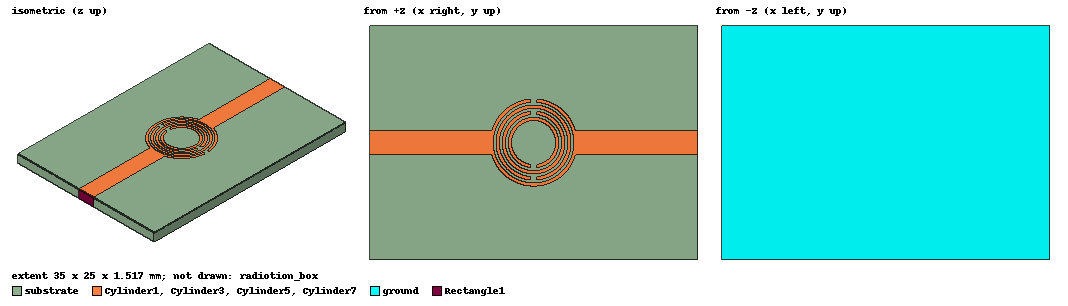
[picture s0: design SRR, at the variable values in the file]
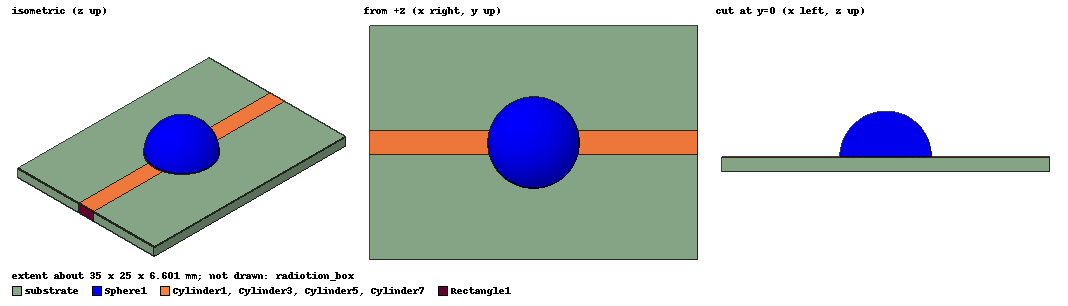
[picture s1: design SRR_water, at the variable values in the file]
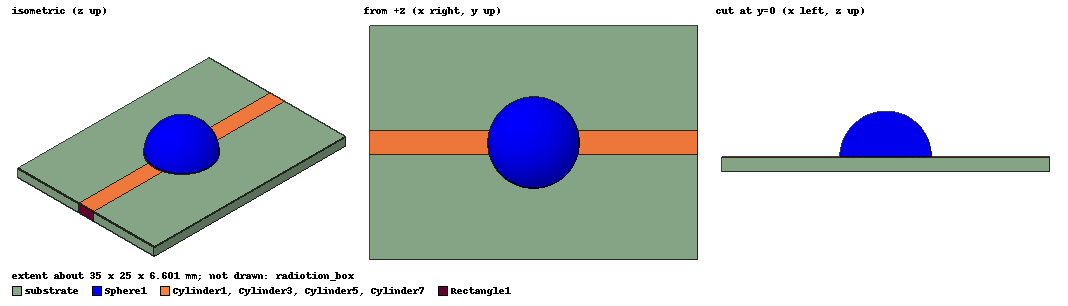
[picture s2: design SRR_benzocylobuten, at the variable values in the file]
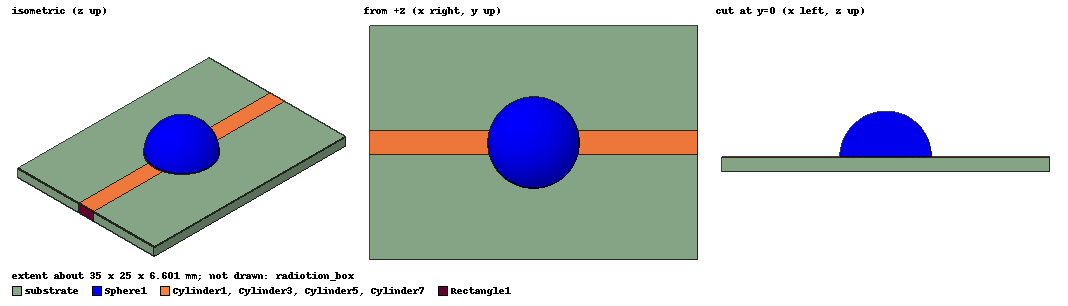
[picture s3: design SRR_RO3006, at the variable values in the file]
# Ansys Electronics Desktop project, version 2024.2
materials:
  vacuum: permittivity=1
  FR4_epoxy: permittivity=4.4 dielectric_loss_tangent=0.02
  copper: permeability=0.999991 conductivity=58000000
  air: permittivity=1.0006 permeability=1.0000004
  benzocyclobuten: permittivity=2.6
  BT_systems: permittivity=3.9
  Rogers RO3006 (tm): permittivity=6.15 dielectric_loss_tangent=0.0025
  beryllium: permeability=1.00000079 conductivity=25000000
  water_fresh: permittivity=81 permeability=0.999991 conductivity=0.01
  ethanol_70: permittivity=22.41 dielectric_loss_tangent=1.152 delta_H_freq=2450000000

design SRR (HFSS, HFSS Modal Network, model units mm)
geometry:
  substrate [FR4_epoxy] = box(corner=(-17.5mm, -12.5mm, 0mm), size=(35mm, 25mm, 1.5mm))
  Cylinder1 [copper] = cylinder(axis=Z, base_centre=(0mm, 0mm, 1.5mm), radius=4.65mm, height=0.017mm)
  Cylinder2 = cylinder(axis=Z, base_centre=(0mm, 0mm, 1.5mm), radius=4.3mm, height=0.017mm)
  Cylinder1.subtract(Cylinder2)
  Cylinder3 [copper] = cylinder(axis=Z, base_centre=(0mm, 0mm, 1.5mm), radius=4mm, height=0.017mm)
  Cylinder4 = cylinder(axis=Z, base_centre=(0mm, 0mm, 1.5mm), radius=3.65mm, height=0.027mm)
  Cylinder3.subtract(Cylinder4)
  Cylinder5 [copper] = cylinder(axis=Z, base_centre=(0mm, 0mm, 1.5mm), radius=3.35mm, height=0.017mm)
  Cylinder6 = cylinder(axis=Z, base_centre=(0mm, 0mm, 1.5mm), radius=3mm, height=0.017mm)
  Cylinder5.subtract(Cylinder6)
  Cylinder7 [copper] = cylinder(axis=Z, base_centre=(0mm, 0mm, 1.5mm), radius=2.7mm, height=0.017mm)
  Cylinder8 = cylinder(axis=Z, base_centre=(0mm, 0mm, 1.5mm), radius=2.35mm, height=0.017mm)
  Cylinder7.subtract(Cylinder8)
  Box1 = box(corner=(-0.35mm, 4.2mm, 1.5mm), size=(0.7mm, 0.5mm, 0.017mm))
  Box2 = box(corner=(-0.35mm, 2.9mm, 1.5mm), size=(0.7mm, 0.5mm, 0.017mm))
  Box3 = box(corner=(-0.35mm, -2.8mm, 1.5mm), size=(0.7mm, 0.5mm, 0.017mm))
  Box4 = box(corner=(-0.35mm, -4.1mm, 1.5mm), size=(0.7mm, 0.5mm, 0.017mm))
  Cylinder1.subtract(Box1)
  Cylinder3.subtract(Box4)
  Cylinder7.subtract(Box3)
  Cylinder5.subtract(Box2)
  stripline = box(corner=(-17.5mm, -1.325mm, 1.5mm), size=(35mm, 2.65mm, 0.017mm))
  Cylinder10 = cylinder(axis=Z, base_centre=(0mm, 0mm, 1.5mm), radius=4.63mm, height=0.017mm)
  stripline.subtract(Cylinder10)
  Cylinder1.unite(stripline)
  Rectangle1 = rectangle(corner=(17.5mm, -1.325mm, 1.5mm), y_size=2.65mm, z_size=-1.5mm)
  Rectangle2 = rectangle(corner=(-17.5mm, 1.325mm, 1.5mm), y_size=-2.65mm, z_size=-1.5mm)
  ground = rectangle(corner=(-17.5mm, 12.5mm, 0mm), x_size=35mm, y_size=-25mm)
  radiotion_box [air] = box(corner=(-30mm, -30mm, -30mm), size=(60mm, 60mm, 60mm))
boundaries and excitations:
  PerfE1: Perfect E Objects=ground
  Rad1: Radiation Objects=radiotion_box
  1: Lumped Port Objects=Rectangle1 LumpedPortType=Modal Modes{Mode1{IntLine{(17.5, 0, 0) -> (17.5, 0, 1.5)} CharImp=Zpi RenormImp=50ohm}} Impedance=50ohm
  2: Lumped Port Objects=Rectangle2 LumpedPortType=Modal Modes{Mode1{IntLine{(-17.5, 0, 0) -> (-17.5, 0, 1.5)} CharImp=Zpi RenormImp=50ohm}} Impedance=50ohm
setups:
  Setup1: HfssDriven Frequency=2.45GHz MaxDeltaS=0.02 MaximumPasses=10 MinimumPasses=1 MinimumConvergedPasses=1 PercentRefinement=30 BasisOrder=1 PortAccuracy=2 DrivenSolverType="Direct Solver"
    sweep Sweep: 1GHz to 3GHz, 401 points; Type=Interpolating InterpTolerance=0.5 InterpMaxSolns=250 InterpUsePortImped=false PassivityErrorTolerance=0.0001
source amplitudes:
  1:1: 1W 0deg
  2:1: 0W 0deg
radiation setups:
  Infinite Sphere1: Infinite Sphere Theta=0deg..180deg step 10deg Phi=-180deg..180deg step 10deg
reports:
  S Parameter Plot 1: dB(S(1,1)), dB(S(2,1)) vs Freq on Setup1 : Sweep; markers S21 at 2.53GHz, S11 at 2.53GHz

design SRR_water (HFSS, HFSS Modal Network, model units mm)
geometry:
  substrate [FR4_epoxy] = box(corner=(-17.5mm, -12.5mm, 0mm), size=(35mm, 25mm, 1.5mm))
  Cylinder1 [copper] = cylinder(axis=Z, base_centre=(0mm, 0mm, 1.5mm), radius=4.65mm, height=0.017mm)
  Cylinder2 = cylinder(axis=Z, base_centre=(0mm, 0mm, 1.5mm), radius=4.3mm, height=0.017mm)
  Cylinder1.subtract(Cylinder2)
  Cylinder3 [copper] = cylinder(axis=Z, base_centre=(0mm, 0mm, 1.5mm), radius=4mm, height=0.017mm)
  Cylinder4 = cylinder(axis=Z, base_centre=(0mm, 0mm, 1.5mm), radius=3.65mm, height=0.027mm)
  Cylinder3.subtract(Cylinder4)
  Cylinder5 [copper] = cylinder(axis=Z, base_centre=(0mm, 0mm, 1.5mm), radius=3.35mm, height=0.017mm)
  Cylinder6 = cylinder(axis=Z, base_centre=(0mm, 0mm, 1.5mm), radius=3mm, height=0.017mm)
  Cylinder5.subtract(Cylinder6)
  Cylinder7 [copper] = cylinder(axis=Z, base_centre=(0mm, 0mm, 1.5mm), radius=2.7mm, height=0.017mm)
  Cylinder8 = cylinder(axis=Z, base_centre=(0mm, 0mm, 1.5mm), radius=2.35mm, height=0.017mm)
  Cylinder7.subtract(Cylinder8)
  Box1 = box(corner=(-0.35mm, 4.2mm, 1.5mm), size=(0.7mm, 0.5mm, 0.017mm))
  Box2 = box(corner=(-0.35mm, 2.9mm, 1.5mm), size=(0.7mm, 0.5mm, 0.017mm))
  Box3 = box(corner=(-0.35mm, -2.8mm, 1.5mm), size=(0.7mm, 0.5mm, 0.017mm))
  Box4 = box(corner=(-0.35mm, -4.1mm, 1.5mm), size=(0.7mm, 0.5mm, 0.017mm))
  Cylinder1.subtract(Box1)
  Cylinder3.subtract(Box4)
  Cylinder7.subtract(Box3)
  Cylinder5.subtract(Box2)
  stripline = box(corner=(-17.5mm, -1.325mm, 1.5mm), size=(35mm, 2.65mm, 0.017mm))
  Cylinder10 = cylinder(axis=Z, base_centre=(0mm, 0mm, 1.5mm), radius=4.63mm, height=0.017mm)
  stripline.subtract(Cylinder10)
  Cylinder1.unite(stripline)
  Rectangle1 = rectangle(corner=(17.5mm, -1.325mm, 1.5mm), y_size=2.65mm, z_size=-1.5mm)
  Rectangle2 = rectangle(corner=(-17.5mm, 1.325mm, 1.5mm), y_size=-2.65mm, z_size=-1.5mm)
  ground = rectangle(corner=(-17.5mm, 12.5mm, 0mm), x_size=35mm, y_size=-25mm)
  radiotion_box [air] = box(corner=(-30mm, -30mm, -30mm), size=(60mm, 60mm, 60mm))
  test_sub = box(corner=(-5mm, -5mm, -3.48mm), size=(10mm, 10mm, 5mm))
  Sphere1 [water_fresh] = sphere(centre=(0mm, 0mm, 1.53mm), radius=4.883124mm)
  Sphere1.subtract(test_sub)
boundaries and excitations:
  PerfE1: Perfect E Objects=ground
  Rad1: Radiation Objects=radiotion_box
  1: Lumped Port Objects=Rectangle1 LumpedPortType=Modal Modes{Mode1{IntLine{(17.5, 0, 0) -> (17.5, 0, 1.5)} CharImp=Zpi RenormImp=50ohm}} Impedance=50ohm
  2: Lumped Port Objects=Rectangle2 LumpedPortType=Modal Modes{Mode1{IntLine{(-17.5, 0, 0) -> (-17.5, 0, 1.5)} CharImp=Zpi RenormImp=50ohm}} Impedance=50ohm
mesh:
  initial mesh: GlobalSurfApproximation{CurvedSurfaceApproxChoice=UseSlider SliderMeshSettings=1} DynamicSurfaceResolution
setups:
  Setup1: HfssDriven Frequency=2.45GHz MaxDeltaS=0.02 MaximumPasses=5 MinimumPasses=1 MinimumConvergedPasses=1 PercentRefinement=30 BasisOrder=1 PortAccuracy=2 DrivenSolverType="Direct Solver"
    sweep Sweep: 1GHz to 3GHz, 200 points; Type=Interpolating InterpTolerance=0.5 InterpMaxSolns=250 InterpUsePortImped=false PassivityErrorTolerance=0.0001
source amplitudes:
  1:1: 1W 0deg
  2:1: 0W 0deg
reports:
  S Parameter Plot 1: dB(S(1,1)), dB(S(2,1)) vs Freq on Setup1 : Sweep; markers S11 at 1.2311558GHz, S21 at 1.2311558GHz

design SRR_benzocylobuten (HFSS, HFSS Modal Network, model units mm)
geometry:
  substrate [FR4_epoxy] = box(corner=(-17.5mm, -12.5mm, 0mm), size=(35mm, 25mm, 1.5mm))
  Cylinder1 [copper] = cylinder(axis=Z, base_centre=(0mm, 0mm, 1.5mm), radius=4.65mm, height=0.017mm)
  Cylinder2 = cylinder(axis=Z, base_centre=(0mm, 0mm, 1.5mm), radius=4.3mm, height=0.017mm)
  Cylinder1.subtract(Cylinder2)
  Cylinder3 [copper] = cylinder(axis=Z, base_centre=(0mm, 0mm, 1.5mm), radius=4mm, height=0.017mm)
  Cylinder4 = cylinder(axis=Z, base_centre=(0mm, 0mm, 1.5mm), radius=3.65mm, height=0.027mm)
  Cylinder3.subtract(Cylinder4)
  Cylinder5 [copper] = cylinder(axis=Z, base_centre=(0mm, 0mm, 1.5mm), radius=3.35mm, height=0.017mm)
  Cylinder6 = cylinder(axis=Z, base_centre=(0mm, 0mm, 1.5mm), radius=3mm, height=0.017mm)
  Cylinder5.subtract(Cylinder6)
  Cylinder7 [copper] = cylinder(axis=Z, base_centre=(0mm, 0mm, 1.5mm), radius=2.7mm, height=0.017mm)
  Cylinder8 = cylinder(axis=Z, base_centre=(0mm, 0mm, 1.5mm), radius=2.35mm, height=0.017mm)
  Cylinder7.subtract(Cylinder8)
  Box1 = box(corner=(-0.35mm, 4.2mm, 1.5mm), size=(0.7mm, 0.5mm, 0.017mm))
  Box2 = box(corner=(-0.35mm, 2.9mm, 1.5mm), size=(0.7mm, 0.5mm, 0.017mm))
  Box3 = box(corner=(-0.35mm, -2.8mm, 1.5mm), size=(0.7mm, 0.5mm, 0.017mm))
  Box4 = box(corner=(-0.35mm, -4.1mm, 1.5mm), size=(0.7mm, 0.5mm, 0.017mm))
  Cylinder1.subtract(Box1)
  Cylinder3.subtract(Box4)
  Cylinder7.subtract(Box3)
  Cylinder5.subtract(Box2)
  stripline = box(corner=(-17.5mm, -1.325mm, 1.5mm), size=(35mm, 2.65mm, 0.017mm))
  Cylinder10 = cylinder(axis=Z, base_centre=(0mm, 0mm, 1.5mm), radius=4.63mm, height=0.017mm)
  stripline.subtract(Cylinder10)
  Cylinder1.unite(stripline)
  Rectangle1 = rectangle(corner=(17.5mm, -1.325mm, 1.5mm), y_size=2.65mm, z_size=-1.5mm)
  Rectangle2 = rectangle(corner=(-17.5mm, 1.325mm, 1.5mm), y_size=-2.65mm, z_size=-1.5mm)
  ground = rectangle(corner=(-17.5mm, 12.5mm, 0mm), x_size=35mm, y_size=-25mm)
  radiotion_box [air] = box(corner=(-30mm, -30mm, -30mm), size=(60mm, 60mm, 60mm))
  test_sub = box(corner=(-5mm, -5mm, -3.48mm), size=(10mm, 10mm, 5mm))
  Sphere1 [benzocyclobuten] = sphere(centre=(0mm, 0mm, 1.53mm), radius=4.883124mm)
  Sphere1.subtract(test_sub)
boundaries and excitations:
  PerfE1: Perfect E Objects=ground
  Rad1: Radiation Objects=radiotion_box
  1: Lumped Port Objects=Rectangle1 LumpedPortType=Modal Modes{Mode1{IntLine{(17.5, 0, 0) -> (17.5, 0, 1.5)} CharImp=Zpi RenormImp=50ohm}} Impedance=50ohm
  2: Lumped Port Objects=Rectangle2 LumpedPortType=Modal Modes{Mode1{IntLine{(-17.5, 0, 0) -> (-17.5, 0, 1.5)} CharImp=Zpi RenormImp=50ohm}} Impedance=50ohm
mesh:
  initial mesh: GlobalSurfApproximation{CurvedSurfaceApproxChoice=UseSlider SliderMeshSettings=1} DynamicSurfaceResolution
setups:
  Setup1: HfssDriven Frequency=2.45GHz MaxDeltaS=0.02 MaximumPasses=5 MinimumPasses=1 MinimumConvergedPasses=1 PercentRefinement=30 BasisOrder=1 PortAccuracy=2 DrivenSolverType="Direct Solver"
    sweep Sweep: 1GHz to 3GHz, 200 points; Type=Interpolating InterpTolerance=0.5 InterpMaxSolns=250 InterpUsePortImped=false PassivityErrorTolerance=0.0001
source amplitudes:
  1:1: 1W 0deg
  2:1: 0W 0deg
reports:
  S Parameter Plot 1: dB(S(1,1)), dB(S(2,1)) vs Freq on Setup1 : Sweep; markers S21 at 2.1557789GHz, S11 at 2.1557789GHz

design SRR_RO3006 (HFSS, HFSS Modal Network, model units mm)
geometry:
  substrate [FR4_epoxy] = box(corner=(-17.5mm, -12.5mm, 0mm), size=(35mm, 25mm, 1.5mm))
  Cylinder1 [copper] = cylinder(axis=Z, base_centre=(0mm, 0mm, 1.5mm), radius=4.65mm, height=0.017mm)
  Cylinder2 = cylinder(axis=Z, base_centre=(0mm, 0mm, 1.5mm), radius=4.3mm, height=0.017mm)
  Cylinder1.subtract(Cylinder2)
  Cylinder3 [copper] = cylinder(axis=Z, base_centre=(0mm, 0mm, 1.5mm), radius=4mm, height=0.017mm)
  Cylinder4 = cylinder(axis=Z, base_centre=(0mm, 0mm, 1.5mm), radius=3.65mm, height=0.027mm)
  Cylinder3.subtract(Cylinder4)
  Cylinder5 [copper] = cylinder(axis=Z, base_centre=(0mm, 0mm, 1.5mm), radius=3.35mm, height=0.017mm)
  Cylinder6 = cylinder(axis=Z, base_centre=(0mm, 0mm, 1.5mm), radius=3mm, height=0.017mm)
  Cylinder5.subtract(Cylinder6)
  Cylinder7 [copper] = cylinder(axis=Z, base_centre=(0mm, 0mm, 1.5mm), radius=2.7mm, height=0.017mm)
  Cylinder8 = cylinder(axis=Z, base_centre=(0mm, 0mm, 1.5mm), radius=2.35mm, height=0.017mm)
  Cylinder7.subtract(Cylinder8)
  Box1 = box(corner=(-0.35mm, 4.2mm, 1.5mm), size=(0.7mm, 0.5mm, 0.017mm))
  Box2 = box(corner=(-0.35mm, 2.9mm, 1.5mm), size=(0.7mm, 0.5mm, 0.017mm))
  Box3 = box(corner=(-0.35mm, -2.8mm, 1.5mm), size=(0.7mm, 0.5mm, 0.017mm))
  Box4 = box(corner=(-0.35mm, -4.1mm, 1.5mm), size=(0.7mm, 0.5mm, 0.017mm))
  Cylinder1.subtract(Box1)
  Cylinder3.subtract(Box4)
  Cylinder7.subtract(Box3)
  Cylinder5.subtract(Box2)
  stripline = box(corner=(-17.5mm, -1.325mm, 1.5mm), size=(35mm, 2.65mm, 0.017mm))
  Cylinder10 = cylinder(axis=Z, base_centre=(0mm, 0mm, 1.5mm), radius=4.63mm, height=0.017mm)
  stripline.subtract(Cylinder10)
  Cylinder1.unite(stripline)
  Rectangle1 = rectangle(corner=(17.5mm, -1.325mm, 1.5mm), y_size=2.65mm, z_size=-1.5mm)
  Rectangle2 = rectangle(corner=(-17.5mm, 1.325mm, 1.5mm), y_size=-2.65mm, z_size=-1.5mm)
  ground = rectangle(corner=(-17.5mm, 12.5mm, 0mm), x_size=35mm, y_size=-25mm)
  radiotion_box [air] = box(corner=(-30mm, -30mm, -30mm), size=(60mm, 60mm, 60mm))
  test_sub = box(corner=(-5mm, -5mm, -3.48mm), size=(10mm, 10mm, 5mm))
  Sphere1 [Rogers RO3006 (tm)] = sphere(centre=(0mm, 0mm, 1.53mm), radius=4.883124mm)
  Sphere1.subtract(test_sub)
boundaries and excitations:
  PerfE1: Perfect E Objects=ground
  Rad1: Radiation Objects=radiotion_box
  1: Lumped Port Objects=Rectangle1 LumpedPortType=Modal Modes{Mode1{IntLine{(17.5, 0, 0) -> (17.5, 0, 1.5)} CharImp=Zpi RenormImp=50ohm}} Impedance=50ohm
  2: Lumped Port Objects=Rectangle2 LumpedPortType=Modal Modes{Mode1{IntLine{(-17.5, 0, 0) -> (-17.5, 0, 1.5)} CharImp=Zpi RenormImp=50ohm}} Impedance=50ohm
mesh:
  initial mesh: GlobalSurfApproximation{CurvedSurfaceApproxChoice=UseSlider SliderMeshSettings=1} DynamicSurfaceResolution
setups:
  Setup1: HfssDriven Frequency=2.45GHz MaxDeltaS=0.02 MaximumPasses=5 MinimumPasses=1 MinimumConvergedPasses=1 PercentRefinement=30 BasisOrder=1 PortAccuracy=2 DrivenSolverType="Direct Solver"
    sweep Sweep: 1GHz to 3GHz, 200 points; Type=Interpolating InterpTolerance=0.5 InterpMaxSolns=250 InterpUsePortImped=false PassivityErrorTolerance=0.0001
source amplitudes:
  1:1: 1W 0deg
  2:1: 0W 0deg
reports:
  S Parameter Plot 1: dB(S(1,1)), dB(S(2,1)) vs Freq on Setup1 : Sweep; markers S21 at 1.7839196GHz, S11 at 1.7839196GHz
